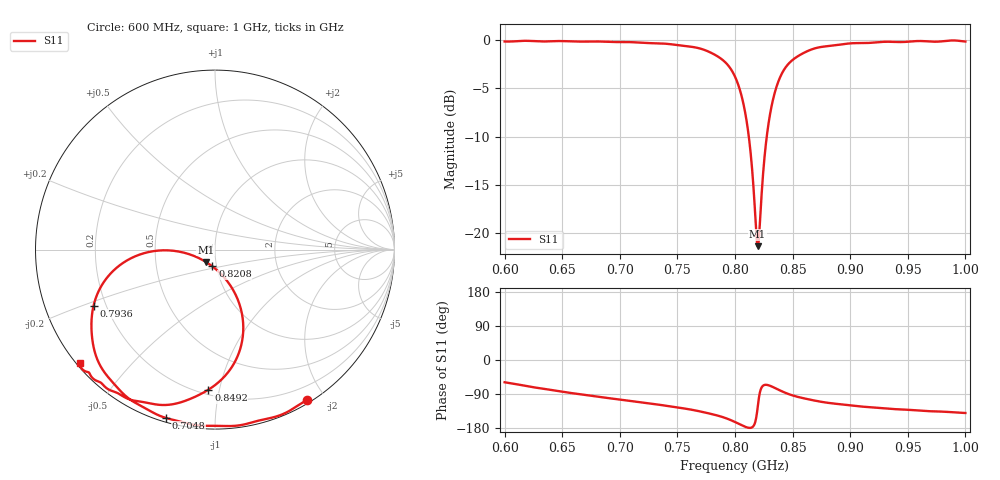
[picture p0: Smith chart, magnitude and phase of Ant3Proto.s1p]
! TOUCHSTONE file generated by CST MICROWAVE STUDIO
! Date and time: Wed Nov 23 10:12:08 2022
! Project name: Ant3Proto.cst
! Parameters = {AntCapLenAddition=9; CapShortLen=1; ShortToGND=0.3; waterdim=0.1}
! Header version: 2018
! Port assignment regex: !\s*Touchstone port\s*([0-9]+)\s*=\s*(CST MWS port|CST DS port)\s*([0-9]+|Zmin|Zmax)\s*\(\"(.*)\"\)(\s*mode\s*([0-9]+))?.*
! Touchstone port assignment:
! Touchstone port 1 = CST MWS port 1 ("")
# MHz S RI R 50
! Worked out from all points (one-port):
!   1001 points, 600 MHz to 1 GHz, reference 50 ohm
!   lowest |S11| = -21.4 dB at 819.6 MHz (marker M1), VSWR 1.19, Z = 44.7 - j6.16 ohm
!   |S11| at or under -10 dB: 812 MHz to 827.6 MHz (15.59 MHz wide, 1.9 % of centre)
!   S11 on the Smith chart (normalised r, x): 600 MHz: 0.04, -1.78; 704.8 MHz: 0.02, -0.75; 793.6 MHz: 0.15, -0.21; 820.8 MHz: 0.95, -0.18; 849.2 MHz: 0.23, -0.93; 1 GHz: 0.01, -0.37
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600  0.5106 -0.8402
620.8  0.3436 -0.9291
650  0.1098 -0.982
700  -0.242 -0.9463
704.8  -0.2739 -0.9379
733.2  -0.4466 -0.8523
750  -0.5433 -0.7697
772  -0.6573 -0.6079
784.4  -0.6874 -0.4593
793.6  -0.6764 -0.3118
800  -0.6204 -0.1822
806  -0.5007 -0.0666
810.8  -0.3562 -0.0109
814  -0.2446 -0.00528
818  -0.1038 -0.0409
819.6  -0.0513 -0.0683
820.8  -0.0146 -0.0935
826  0.1079 -0.2374
831.2  0.1567 -0.4084
835.2  0.1463 -0.532
840  0.0957 -0.6514
849.2  -0.0371 -0.7808
850  -0.0481 -0.7874
868.4  -0.2586 -0.8646
879.6  -0.3565 -0.8578
900  -0.4782 -0.834
950  -0.648 -0.7357
1000  -0.7507 -0.6341
